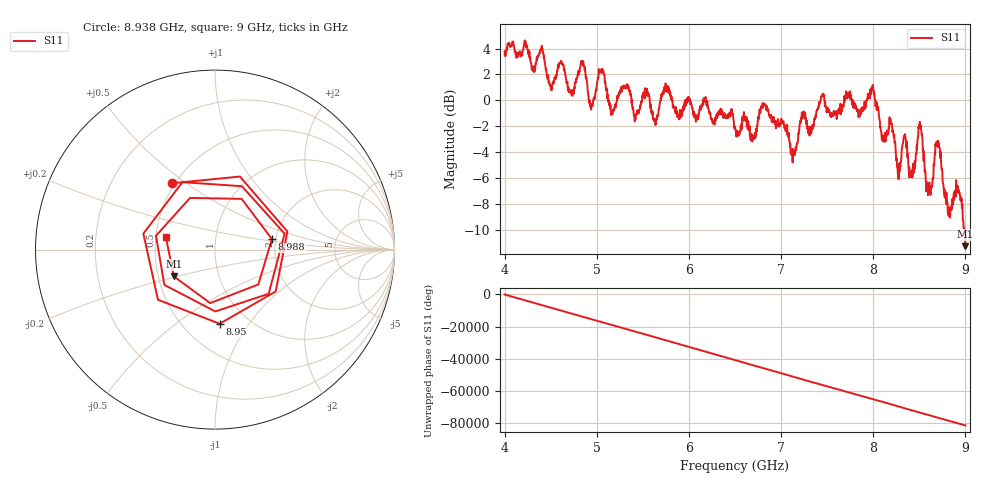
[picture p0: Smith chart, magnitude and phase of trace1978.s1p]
! Created with skrf 1.8.0 (http://scikit-rf.org).
# Hz S RI R 50.0
!freq ReS11 ImS11
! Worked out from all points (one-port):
!   1601 points, 4 GHz to 9 GHz, reference 50 ohm
!   lowest |S11| = -11.3 dB at 8.997 GHz (marker M1), VSWR 1.75, Z = 30.2 - j9.78 ohm
!   |S11| at or under -10 dB: 8.989475 GHz to end of sweep
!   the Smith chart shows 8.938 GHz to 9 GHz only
!   S11 on the Smith chart (normalised r, x): 8.938 GHz: 0.48, +0.44; 8.95 GHz: 0.74, -0.74; 8.988 GHz: 1.91, +0.25; 9 GHz: 0.57, +0.09
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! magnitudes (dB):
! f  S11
! 4 GHz  3.8
! 4.625 GHz  2.8
! 4.725 GHz  0.5
! 4.85 GHz  2.7
! 4.938 GHz  -0.7
! 5.047 GHz  2.2
! 5.162 GHz  -1.0
! 5.25 GHz  0.6
! 5.875 GHz  -1.3
! 6.5 GHz  -2.0
! 6.7 GHz  -3.0
! 6.825 GHz  -0.4
! 7.125 GHz  -4.8
! 7.238 GHz  -1.4
! 7.75 GHz  0.7
! 7.991 GHz  1.1
! 8.272 GHz  -5.7
! 8.375 GHz  -4.1
! 8.428 GHz  -5.4
! 8.509 GHz  -2.1
! 8.6 GHz  -7.0
! 8.697 GHz  -3.2
! 8.812 GHz  -8.6
! 8.938 GHz  -7.1
! 8.95 GHz  -7.7
! 8.988 GHz  -9.8
! 8.997 GHz  -11.3
! 9 GHz  -11.0
